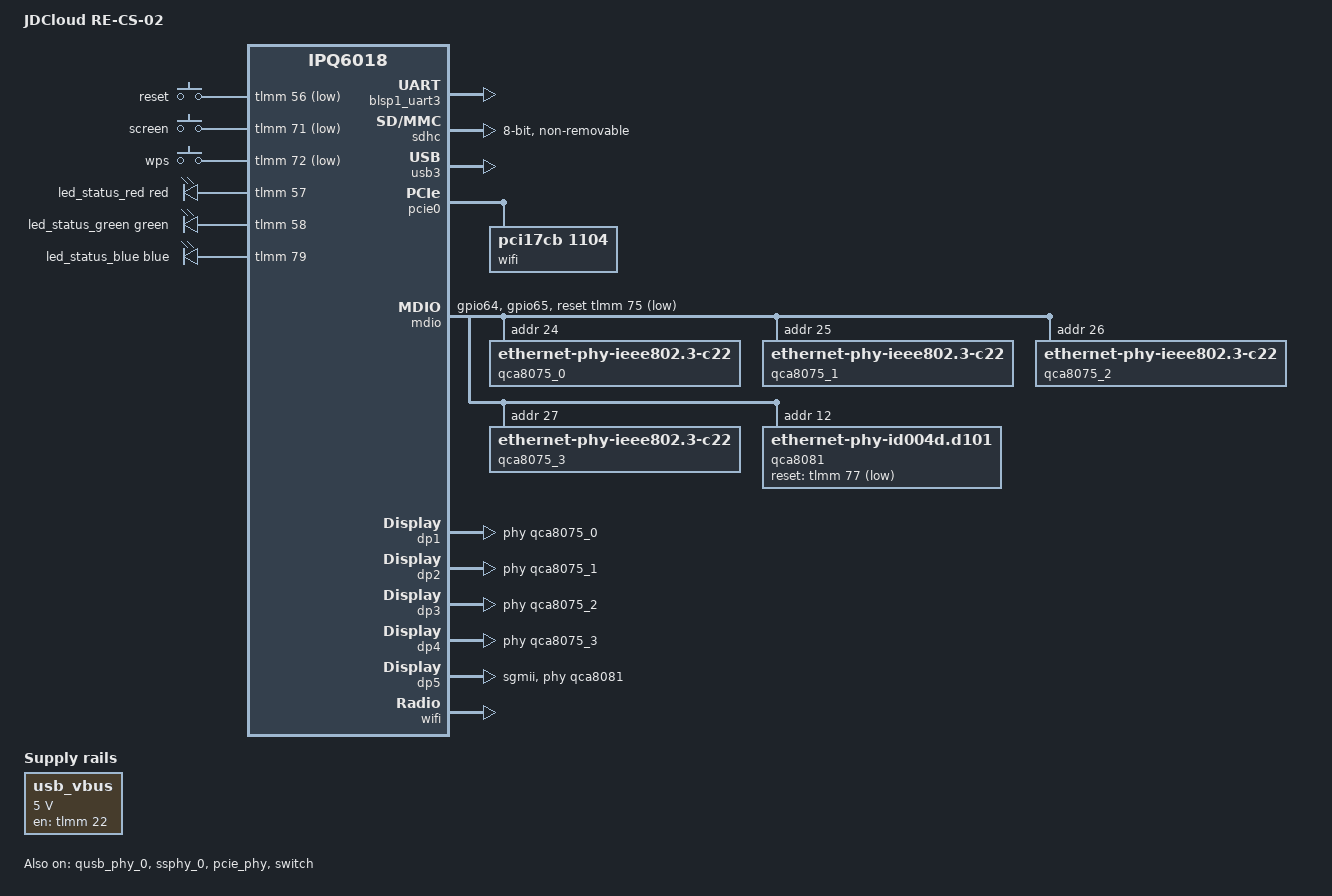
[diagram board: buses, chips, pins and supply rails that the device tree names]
// SPDX-License-Identifier: GPL-2.0-or-later OR MIT
//
// 京东云无线宝雅典娜 AX6600 (JDCloud RE-CS-02)
// 适配基底: immortalwrt openwrt-25.12 (内核 6.12, STMMAC/老 EDMA 网络架构)
// 来源: immortalwrt master (内核 6.18) 的 ipq6010-re-cs.dtsi + ipq6010-re-cs-02.dts
//       网口部分按 25.12 的 &dp + qcom,port_phyinfo 写法重写

/dts-v1/;

#include "ipq6018.dtsi"
#include "ipq6018-ess.dtsi"

#include <dt-bindings/gpio/gpio.h>
#include <dt-bindings/input/input.h>
#include <dt-bindings/leds/common.h>

/ {
	model = "JDCloud RE-CS-02";
	compatible = "jdcloud,re-cs-02", "qcom,ipq6018";

	aliases {
		label-mac-device = &dp1;
		serial0 = &blsp1_uart3;

		led-boot = &led_status_red;
		led-failsafe = &led_status_red;
		led-running = &led_status_green;
		led-upgrade = &led_status_blue;
	};

	chosen {
		stdout-path = "serial0:115200n8";
	};

	keys {
		compatible = "gpio-keys";
		pinctrl-0 = <&button_pins>;
		pinctrl-names = "default";

		reset {
			label = "reset";
			linux,code = <KEY_RESTART>;
			gpios = <&tlmm 56 GPIO_ACTIVE_LOW>;
		};

		screen {
			label = "screen";
			linux,code = <BTN_1>;
			gpios = <&tlmm 71 GPIO_ACTIVE_LOW>;
		};

		wps {
			label = "wps";
			linux,code = <KEY_WPS_BUTTON>;
			gpios = <&tlmm 72 GPIO_ACTIVE_LOW>;
		};
	};

	leds {
		compatible = "gpio-leds";

		led_status_red: red {
			color = <LED_COLOR_ID_RED>;
			function = LED_FUNCTION_STATUS;
			gpios = <&tlmm 57 GPIO_ACTIVE_HIGH>;
		};

		led_status_green: green {
			color = <LED_COLOR_ID_GREEN>;
			function = LED_FUNCTION_STATUS;
			gpios = <&tlmm 58 GPIO_ACTIVE_HIGH>;
		};

		led_status_blue: blue {
			color = <LED_COLOR_ID_BLUE>;
			function = LED_FUNCTION_STATUS;
			gpios = <&tlmm 79 GPIO_ACTIVE_HIGH>;
		};
	};

	usb_vbus: regulator-usb-vbus {
		compatible = "regulator-fixed";
		regulator-name = "usb_vbus";
		regulator-min-microvolt = <5000000>;
		regulator-max-microvolt = <5000000>;
		gpios = <&tlmm 22 GPIO_ACTIVE_HIGH>;
		enable-active-high;
		regulator-boot-on;
	};
};

&tlmm {
	gpio-reserved-ranges = <20 1>;

	button_pins: button-pins {
		mux {
			pins = "gpio56", "gpio71", "gpio72";
			function = "gpio";
			drive-strength = <8>;
			bias-pull-up;
		};
	};

	mdio_pins: mdio-pins {
		mdc {
			pins = "gpio64";
			function = "mdc";
			drive-strength = <8>;
			bias-pull-up;
		};

		mdio {
			pins = "gpio65";
			function = "mdio";
			drive-strength = <8>;
			bias-pull-up;
		};
	};
};

&blsp1_uart3 {
	pinctrl-0 = <&serial_3_pins>;
	pinctrl-names = "default";
	status = "okay";
};

&qusb_phy_0 {
	vdd-supply = <&usb_vbus>;
	status = "okay";
};

&rpm {
	status = "disabled";
};

&sdhc {
	bus-width = <8>;
	mmc-ddr-1_8v;
	mmc-hs200-1_8v;
	non-removable;
	status = "okay";
};

&ssphy_0 {
	status = "okay";
};

&usb3 {
	status = "okay";
};

&pcie_phy {
	status = "okay";
};

&pcie0 {
	perst-gpios = <&tlmm 53 GPIO_ACTIVE_LOW>;
	status = "okay";

	pcie@0 {
		wifi@0,0 {
			compatible = "pci17cb,1104";
			reg = <0x00010000 0 0 0 0>;
			qcom,ath11k-calibration-variant = "JDC-RE-CS-02";
		};
	};
};

&mdio {
	status = "okay";

	pinctrl-0 = <&mdio_pins>;
	pinctrl-names = "default";
	reset-gpios = <&tlmm 75 GPIO_ACTIVE_LOW>;

	qca8075_0: ethernet-phy@24 {
		compatible = "ethernet-phy-ieee802.3-c22";
		reg = <24>;
	};

	qca8075_1: ethernet-phy@25 {
		compatible = "ethernet-phy-ieee802.3-c22";
		reg = <25>;
	};

	qca8075_2: ethernet-phy@26 {
		compatible = "ethernet-phy-ieee802.3-c22";
		reg = <26>;
	};

	qca8075_3: ethernet-phy@27 {
		compatible = "ethernet-phy-ieee802.3-c22";
		reg = <27>;
	};

	qca8081: ethernet-phy@12 {
		compatible = "ethernet-phy-id004d.d101";
		reg = <12>;
		reset-deassert-us = <10000>;
		reset-gpios = <&tlmm 77 GPIO_ACTIVE_LOW>;
	};
};

&switch {
	status = "okay";

	switch_lan_bmp = <(ESS_PORT1 | ESS_PORT2 | ESS_PORT3 | ESS_PORT4)>;
	switch_wan_bmp = <ESS_PORT5>;
	switch_mac_mode = <MAC_MODE_PSGMII>;
	switch_mac_mode1 = <MAC_MODE_SGMII_PLUS>;

	qcom,port_phyinfo {
		port@1 {
			port_id = <1>;
			phy_address = <24>;
		};

		port@2 {
			port_id = <2>;
			phy_address = <25>;
		};

		port@3 {
			port_id = <3>;
			phy_address = <26>;
		};

		port@4 {
			port_id = <4>;
			phy_address = <27>;
		};

		port@5 {
			port_id = <5>;
			phy_address = <12>;
		};
	};
};

&edma {
	status = "okay";
};

&dp1 {
	status = "okay";
	phy-handle = <&qca8075_0>;
	label = "lan1";
};

&dp2 {
	status = "okay";
	phy-handle = <&qca8075_1>;
	label = "lan2";
};

&dp3 {
	status = "okay";
	phy-handle = <&qca8075_2>;
	label = "lan3";
};

&dp4 {
	status = "okay";
	phy-handle = <&qca8075_3>;
	label = "lan4";
};

&dp5 {
	status = "okay";
	phy-mode = "sgmii";
	phy-handle = <&qca8081>;
	label = "wan";
};

&wifi {
	status = "okay";

	qcom,ath11k-calibration-variant = "JDC-RE-CS-02";
};
